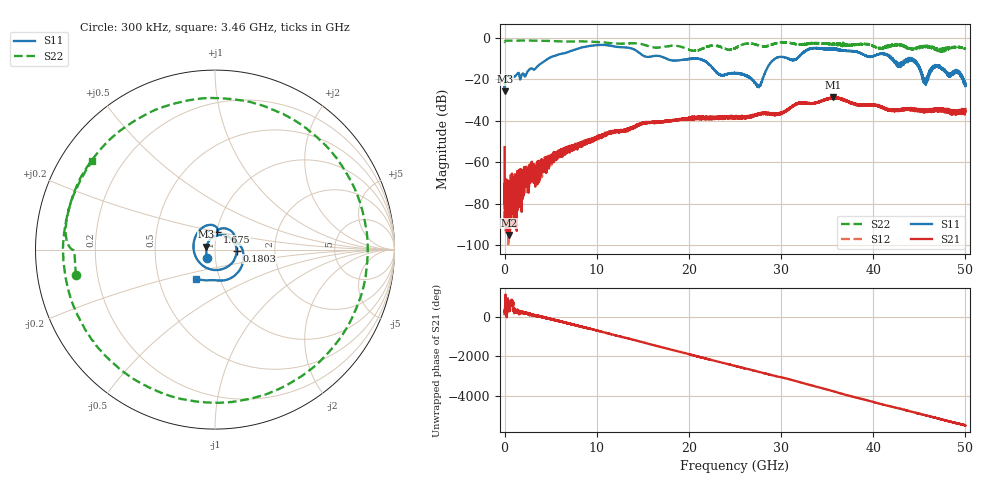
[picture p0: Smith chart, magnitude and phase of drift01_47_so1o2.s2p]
!Created with skrf (http://scikit-rf.org).
# Hz S RI R 50.0
!freq ReS11 ImS11 ReS21 ImS21 ReS12 ImS12 ReS22 ImS22
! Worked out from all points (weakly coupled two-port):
!   10001 points, 300 kHz to 50 GHz, reference 50 ohm
!   highest |S21| = -28.77 dB at 35.61 GHz (marker M1); lowest = -95.0 dB at 515.3 MHz (marker M2)
!   lowest |S11| = -25.8 dB at 5.3 MHz (marker M3), VSWR 1.11, Z = 45.3 + j1.41 ohm
!   |S11| at or under -10 dB: start of sweep to 4.767 GHz; 17.5 GHz to 29.4 GHz (11.9 GHz wide, 50.7 % of centre); 44.2 GHz to end of sweep (the widest 3 of 13)
!   |S22| runs from -6.8 to -1.4 dB; largest |S21 - S12| = 0.004
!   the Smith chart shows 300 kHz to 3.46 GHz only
!   S11 on the Smith chart (normalised r, x): 300 kHz: 0.91, -0.08; 180.3 MHz: 1.27, -0.01; 1.675 GHz: 1.01, +0.20; 3.46 GHz: 0.77, -0.26
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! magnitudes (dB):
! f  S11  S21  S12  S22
! 300 kHz  -23.7  -52.7  -72.0  -2.1
! 5.3 MHz  -25.8  -79.7  -78.1  -2.1
! 180.3 MHz  -18.4  -76.1  -77.9  -1.5
! 515.3 MHz  -18.7  -95.0  -79.0  -1.5
! 1.675 GHz  -20.1  -75.7  -70.2  -1.4
! 3.46 GHz  -14.3  -62.9  -60.8  -1.5
! 8.335 GHz  -4.8  -51.1  -51.6  -1.8
! 16.67 GHz  -8.8  -40.7  -40.7  -4.8
! 21.16 GHz  -10.3  -38.9  -38.2  -5.9
! 25 GHz  -17.1  -38.6  -38.3  -5.2
! 27.57 GHz  -23.7  -36.8  -36.9  -3.8
! 29.28 GHz  -10.3  -37.0  -36.9  -2.8
! 31.45 GHz  -10.8  -32.5  -32.4  -3.0
! 33.34 GHz  -5.1  -31.7  -31.6  -2.6
! 35.61 GHz  -5.5  -28.8  -28.9  -2.9
! 41.67 GHz  -8.9  -34.7  -34.8  -4.5
! 42.74 GHz  -12.4  -34.8  -35.2  -3.2
! 44.41 GHz  -11.2  -34.4  -34.5  -5.2
! 45.63 GHz  -20.7  -34.8  -34.7  -4.3
! 46.94 GHz  -13.6  -34.7  -34.5  -5.4
! 49.21 GHz  -16.5  -36.1  -35.9  -4.4
! 50 GHz  -22.2  -34.4  -35.3  -5.5
